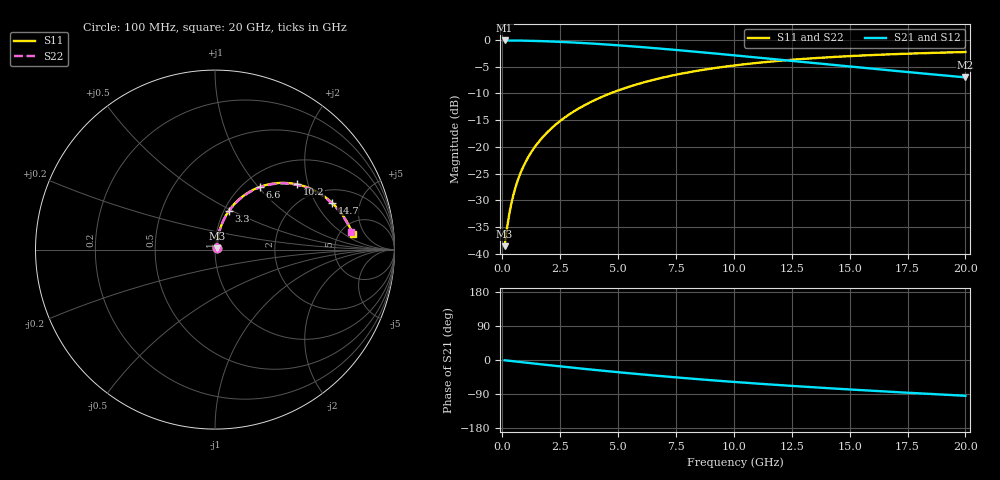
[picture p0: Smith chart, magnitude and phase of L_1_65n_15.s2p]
! Touchstone simulation data from EMX version 5.7
# Hz S RI R 50
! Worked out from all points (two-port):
!   200 points, 100 MHz to 20 GHz, reference 50 ohm
!   highest |S21| = -0.08 dB at 100 MHz (marker M1); lowest = -7.0 dB at 20 GHz (marker M2)
!   |S21| within 3 dB of the highest: start of sweep to 10.54 GHz
!   lowest |S11| = -38.6 dB at 100 MHz (marker M3), VSWR 1.02, Z = 50.9 + j0.723 ohm
!   |S11| at or under -10 dB: start of sweep to 4.66 GHz
!   |S22| runs from -38.6 to -2.3 dB; largest |S21 - S12| = 0
!   S11 on the Smith chart (normalised r, x): 100 MHz: 1.02, +0.01; 3.3 GHz: 1.06, +0.48; 6.6 GHz: 1.19, +1.02; 10.2 GHz: 1.54, +1.71; 14.7 GHz: 2.66, +2.75; 20 GHz: 6.60, +2.78
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1e8  0.00939 0.00709  0.9905 -0.012  0.9905 -0.012  0.0094 0.00709
2e8  0.00963 0.0142  0.9901 -0.024  0.9901 -0.024  0.00963 0.0142
3e8  0.01 0.0212  0.9895 -0.0359  0.9895 -0.0359  0.01 0.0212
4e8  0.0105 0.0283  0.9886 -0.0478  0.9886 -0.0478  0.0106 0.0283
5e8  0.0112 0.0353  0.9874 -0.0596  0.9874 -0.0596  0.0112 0.0353
7e8  0.0129 0.0492  0.9843 -0.0831  0.9843 -0.0831  0.013 0.0492
1e9  0.0164 0.0699  0.9781 -0.1178  0.9781 -0.1178  0.0165 0.0698
1.4e9  0.0227 0.0969  0.9668 -0.163  0.9668 -0.163  0.0229 0.0968
1.9e9  0.0331 0.1298  0.9481 -0.2172  0.9481 -0.2172  0.0334 0.1295
2.5e9  0.0493 0.1678  0.9199 -0.2783  0.9199 -0.2783  0.0498 0.1672
3.3e9  0.0771 0.2153  0.8741 -0.352  0.8741 -0.352  0.0776 0.2141
3.5e9  0.0851 0.2264  0.8614 -0.3689  0.8614 -0.3689  0.0856 0.2251
4.9e9  0.1514 0.2943  0.7629 -0.4697  0.7629 -0.4697  0.1514 0.292
6.6e9  0.2483 0.3486  0.6318 -0.5519  0.6318 -0.5519  0.2467 0.3454
6.8e9  0.2603 0.3528  0.6163 -0.5589  0.6163 -0.5589  0.2584 0.3496
8.4e9  0.3562 0.3711  0.4949 -0.5971  0.4949 -0.5971  0.3524 0.3681
1.01e10  0.4523 0.3645  0.3766 -0.6092  0.3766 -0.6092  0.4467 0.3625
1.02e10  0.4577 0.3634  0.3701 -0.6092  0.3701 -0.6092  0.4519 0.3615
1.34e10  0.6047 0.2995  0.1902 -0.5799  0.1902 -0.5799  0.5965 0.3015
1.47e10  0.6507 0.2623  0.1321 -0.5576  0.1321 -0.5576  0.642 0.2663
1.67e10  0.7071 0.1983  0.0573 -0.5177  0.0573 -0.5177  0.6983 0.2058
2e10  0.7678 0.0849  -0.0342 -0.4456  -0.0342 -0.4456  0.7603 0.0987
